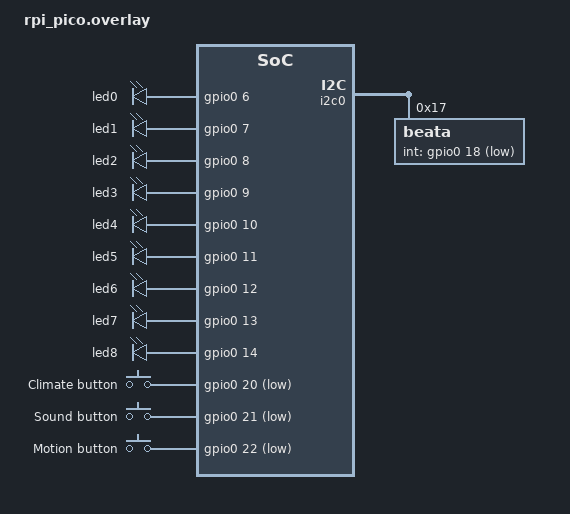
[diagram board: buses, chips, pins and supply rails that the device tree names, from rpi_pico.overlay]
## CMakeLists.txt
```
cmake_minimum_required(VERSION 3.20.0)

# Select our board
set(BOARD rpi_pico)
set(ZEPHYR_EXTRA_MODULES ${CMAKE_CURRENT_SOURCE_DIR}/../beata-driver)

# Find/Select cmake package 'Zephyr'
find_package(Zephyr)

# This is only used by IntelliSense inside VS Code
set(CMAKE_EXPORT_COMPILE_COMMANDS ON)

# For using west flash with picoprobe
set(OPENOCD "openocd")
set(DRPI_PICO_DEBUG_ADAPTER "picoprobe")
set(OPENOCD_DEFAULT_PATH "/usr/local/share/openocd/scripts")

# Define project name
project(beata)

# Add include directory
target_include_directories(app PRIVATE src/inc)

# Add source files
FILE(GLOB SRC_FILES "src/*.c")
target_sources(app PRIVATE ${SRC_FILES})
```

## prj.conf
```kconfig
CONFIG_GPIO=y
CONFIG_I2C=y

CONFIG_DEBUG=y
CONFIG_FPU=n
CONFIG_SENSOR=y
CONFIG_BEATA=n
CONFIG_BEATA_TRIGGER=y

CONFIG_NEWLIB_LIBC=y
CONFIG_NEWLIB_LIBC_FLOAT_PRINTF=y
```

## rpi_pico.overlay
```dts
/ {
    aliases {
        ledshow0 = &led0;
        ledshow1 = &led1;
        ledshow2 = &led2;
        ledshow3 = &led3;
        ledshow4 = &led4;
        ledselect0 = &led5;
        ledselect1 = &led6;
        ledselect2 = &led7;
        ledselect3 = &led8;
        sw0 = &button0;
        sw1 = &button1;
        sw2 = &button2;
    };

    leds {
        compatible = "gpio-leds";
        led0: led_0 {
            gpios = <&gpio0 6 GPIO_ACTIVE_HIGH>;
        };
        led1: led_1 {
            gpios = <&gpio0 7 GPIO_ACTIVE_HIGH>;
        };
        led2: led_2 {
            gpios = <&gpio0 8 GPIO_ACTIVE_HIGH>;
        };
        led3: led_3 {
            gpios = <&gpio0 9 GPIO_ACTIVE_HIGH>;
        };
        led4: led_4 {
            gpios = <&gpio0 10 GPIO_ACTIVE_HIGH>;
        };
        led5: led_5 {
            gpios = <&gpio0 11 GPIO_ACTIVE_HIGH>;
        };
        led6: led_6 {
            gpios = <&gpio0 12 GPIO_ACTIVE_HIGH>;
        };
        led7: led_7 {
            gpios = <&gpio0 13 GPIO_ACTIVE_HIGH>;
        };
        led8: led_8 {
            gpios = <&gpio0 14 GPIO_ACTIVE_HIGH>;
        };
    };

    buttons {
	    compatible = "gpio-keys";
	    button0: button_0 {
	        gpios = <&gpio0 20 (GPIO_PULL_UP | GPIO_ACTIVE_LOW)>;
	        label = "Climate button";
	    };
	    button1: button_1 {
	        gpios = <&gpio0 21 (GPIO_PULL_UP | GPIO_ACTIVE_LOW)>;
	        label = "Sound button";
	    };
	    button2: button_2 {
	        gpios = <&gpio0 22 (GPIO_PULL_UP | GPIO_ACTIVE_LOW)>;
	        label = "Motion button";
	    };
    };
};

&i2c0 {
    status = "okay";
    beata: beata@17 {
        status = "okay";
        compatible = "zephyr,beata";
        reg = <0x17>;
        int-gpios = <&gpio0 18 GPIO_ACTIVE_LOW>;
    };
};
```

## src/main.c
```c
#include <stdio.h>
#include <zephyr/device.h>
#include <zephyr/devicetree.h>
#include <zephyr/drivers/gpio.h>
#include <zephyr/drivers/sensor.h>
#include <zephyr/kernel.h>

#define STACK_SIZE 500
#define ERROR_MARGIN 200
#define BUTTON_DEBOUNCE_DELAY 50
#define BUTTON_HANDLE_DELAY 1
#define NUM_OF_SHOW_LEDS 5

#define SLEEP_TIME 50
#define DISABLE_CLIMATE (1 << 0)
#define DISABLE_SOUND   (1 << 1)
#define DISABLE_MOTION  (1 << 2)

/* Trigger on interupts */
#define UCEL_PER_CEL 1000000
#define UCEL_PER_MCEL 1000
#define TEMP_INITIAL_CEL 25
#define TEMP_WINDOW_HALF_UCEL 500000


/* Synchronization parameters */
K_MUTEX_DEFINE(config_lock);
K_SEM_DEFINE(mode_btn_sem, 0, 1);
K_SEM_DEFINE(select_btn_sem, 0, 1);
K_SEM_DEFINE(config_btn_sem, 0, 1);

// Global variables used
volatile uint8_t update_conf = 0;
static unsigned long button_time = 0;
static struct sensor_trigger temp_trig;
static struct sensor_trigger hum_trig;
static struct sensor_trigger press_trig;
static struct sensor_trigger sound_trig;
static struct sensor_trigger motion_trig;
static struct sensor_value config;
static struct sensor_value temperature, humidity, pressure, motion, sound;
static struct sensor_value sampling_frequency = {10};
static struct sensor_value threshold_temp_upper = {30};
static struct sensor_value threshold_temp_lower = {20};
static struct sensor_value threshold_hum_upper = {60};
static struct sensor_value threshold_hum_lower = {5};
static struct sensor_value threshold_press_upper = {130};
static struct sensor_value threshold_press_lower = {100};
static struct sensor_value threshold_sound_upper = {1000};
static struct sensor_value threshold_sound_lower = {0};

static struct gpio_dt_spec led_show0 = GPIO_DT_SPEC_GET(DT_ALIAS(ledshow0), gpios);
static struct gpio_dt_spec led_show1 = GPIO_DT_SPEC_GET(DT_ALIAS(ledshow1), gpios);
static struct gpio_dt_spec led_show2 = GPIO_DT_SPEC_GET(DT_ALIAS(ledshow2), gpios);
static struct gpio_dt_spec led_show3 = GPIO_DT_SPEC_GET(DT_ALIAS(ledshow3), gpios);
static struct gpio_dt_spec led_show4 = GPIO_DT_SPEC_GET(DT_ALIAS(ledshow4), gpios);
static struct gpio_dt_spec led_selected0 = GPIO_DT_SPEC_GET(DT_ALIAS(ledselect0), gpios);
static struct gpio_dt_spec led_selected1 = GPIO_DT_SPEC_GET(DT_ALIAS(ledselect1), gpios);
static struct gpio_dt_spec led_selected2 = GPIO_DT_SPEC_GET(DT_ALIAS(ledselect2), gpios);
static struct gpio_dt_spec led_selected_mode = GPIO_DT_SPEC_GET(DT_ALIAS(ledselect3), gpios);

static struct gpio_dt_spec mode_button = GPIO_DT_SPEC_GET(DT_ALIAS(sw0), gpios);
static struct gpio_dt_spec select_button = GPIO_DT_SPEC_GET(DT_ALIAS(sw1), gpios);
static struct gpio_dt_spec config_button = GPIO_DT_SPEC_GET(DT_ALIAS(sw2), gpios);

static struct gpio_callback mode_btn_cb_data, select_btn_cb_data, config_btn_cb_data;


/* Function pointer primitive */
typedef void (*state_func_t)(void);

typedef struct _state_t {
    uint8_t id;
    state_func_t Enter;
    state_func_t Do;
    state_func_t Exit;
    uint32_t delay_ms;
} state_t;

typedef enum _event_t {
    b1_evt = 0, // mode btn
    b2_evt = 1, // select btn
    b3_evt = 2, // config btn
    no_evt = 3
} event_t;

typedef enum _visual_select_t {
    motion_select,
    climate_temp_select,
    climate_hum_select,
    climate_press_select,
    sound_select,
    config_select
} visual_select_t;

typedef enum _toggle_config_select_t {
    toggle_motion_select,
    toggle_climate_select,
    toggle_sound_select,
} toggle_config_select_t;

typedef enum _base_station_mode_t {
    visual_mode,
    config_mode
} base_station_mode_t;

typedef enum _prev_config_state_t {
    motion_state,
    climate_state,
    sound_state,
    configure_state
} prev_config_state_t;

// No global variables
prev_config_state_t set_get_prev_config_state(prev_config_state_t prev_config_state_in) {
    static prev_config_state_t prev_config_state = motion_state;

    if (prev_config_state_in != configure_state) {
        prev_config_state = prev_config_state_in;
    }

    return prev_config_state;
}


/* The next three methods are for convenience, you might want to use them. */
event_t get_event(void) {
    if (k_sem_take(&mode_btn_sem, K_NO_WAIT) == 0) {
        printk("Get_event: mode_btn b1_evt\n");
        return b1_evt;
    } else if (k_sem_take(&select_btn_sem, K_NO_WAIT) == 0) {
        printk("Get_event: select_btn b2_evt\n");
        return b2_evt;
    } else if (k_sem_take(&config_btn_sem, K_NO_WAIT) == 0) {
        printk("Get_event: config_btn b3_evt\n");
        return b3_evt;
    } else {
        return no_evt;
    }
}

/****************************************************************************/
/* BEGIN: LEDs should only be modified within this section to prevent bugs */
/****************************************************************************/

/* Initialize all LEDs */
void leds_init() {
    gpio_pin_configure_dt(&led_show0, GPIO_OUTPUT_ACTIVE);
    gpio_pin_set_dt(&led_show0, 1);
    gpio_pin_configure_dt(&led_show1, GPIO_OUTPUT_ACTIVE);
    gpio_pin_set_dt(&led_show1, 1);
    gpio_pin_configure_dt(&led_show2, GPIO_OUTPUT_ACTIVE);
    gpio_pin_set_dt(&led_show2, 1);
    gpio_pin_configure_dt(&led_show3, GPIO_OUTPUT_ACTIVE);
    gpio_pin_set_dt(&led_show3, 1);
    gpio_pin_configure_dt(&led_show4, GPIO_OUTPUT_ACTIVE);
    gpio_pin_set_dt(&led_show4, 1);
    gpio_pin_configure_dt(&led_selected0, GPIO_OUTPUT_ACTIVE);
    gpio_pin_set_dt(&led_selected0, 1);
    gpio_pin_configure_dt(&led_selected1, GPIO_OUTPUT_ACTIVE);
    gpio_pin_set_dt(&led_selected1, 1);
    gpio_pin_configure_dt(&led_selected2, GPIO_OUTPUT_ACTIVE);
    gpio_pin_set_dt(&led_selected2, 1);
    gpio_pin_configure_dt(&led_selected_mode, GPIO_OUTPUT_ACTIVE);
    gpio_pin_set_dt(&led_selected_mode, 1);
}

/* Turn off all show LEDs */
void leds_show_off() {
    gpio_pin_set_dt(&led_show0, 0);
    gpio_pin_set_dt(&led_show1, 0);
    gpio_pin_set_dt(&led_show2, 0);
    gpio_pin_set_dt(&led_show3, 0);
    gpio_pin_set_dt(&led_show4, 0);
}

/*  Turn off all selected LEDs except mode.
    Does not shut down select_mode since this function is used to clear
    which visual or configuration has been selected, not mode.
*/
void leds_select_off() {
    gpio_pin_set_dt(&led_selected0, 0);
    gpio_pin_set_dt(&led_selected1, 0);
    gpio_pin_set_dt(&led_selected2, 0);
}

/* Turn off all LEDs.
   Call every time a state is entered, do, and exiting to prevent bugs.
*/
void leds_off() {
    leds_show_off();
    leds_select_off();
    gpio_pin_set_dt(&led_selected_mode, 0);
}

/* Turn on selected mode LED if visual_mode and off if config_mode
    Call every time you in the do function for all states.
*/
void led_selected_mode_on(base_station_mode_t mode) {
    if (mode == visual_mode) {
        gpio_pin_set_dt(&led_selected_mode, 0);
    } else if (mode == config_mode) {
        gpio_pin_set_dt(&led_selected_mode, 1);
    }
}

/* Turn on show LEDs (0, 1, 2) that correspond to each config option
    Turns off other show LEDs.
*/
void leds_show_config() {
    leds_show_off();

    if ((config.val1 & DISABLE_MOTION) == 0) {
        gpio_pin_set_dt(&led_show0, 1);
    }

    if ((config.val1 & DISABLE_CLIMATE) == 0) {
        gpio_pin_set_dt(&led_show1, 1);
    }

    if ((config.val1 & DISABLE_SOUND) == 0) {
        gpio_pin_set_dt(&led_show2, 1);
    }
}

/* Turn on show LEDs that correspond to each visual_select.
    Turns off all other show LEDs that is not used to display
    the visual_select.
*/
void leds_show_visual_select(visual_select_t visual_select) {
    leds_select_off();

    if (visual_select == motion_select) {
        gpio_pin_set_dt(&led_selected0, 1);
    } else if (visual_select == climate_temp_select) {
        gpio_pin_set_dt(&led_selected1, 1);
    } else if (visual_select == climate_hum_select) {
        gpio_pin_set_dt(&led_selected0, 1);
        gpio_pin_set_dt(&led_selected1, 1);
    } else if (visual_select == climate_press_select) {
        gpio_pin_set_dt(&led_selected1, 1);
        gpio_pin_set_dt(&led_selected2, 1);
    } else if (visual_select == sound_select) {
        gpio_pin_set_dt(&led_selected2, 1);
    }
}

/* Turn on show LEDs that correspond to each toggle_config_select.
    Turns off all other show LEDs that is not used to display
    the toggle_config_select.
*/
void leds_show_toggle_config_select(toggle_config_select_t toggle_config_select) {
    leds_select_off();

    if (toggle_config_select == toggle_motion_select) {
        gpio_pin_set_dt(&led_selected0, 1);
    } else if (toggle_config_select == toggle_climate_select) {
        gpio_pin_set_dt(&led_selected1, 1);
    } else if (toggle_config_select == toggle_sound_select) {
        gpio_pin_set_dt(&led_selected2, 1);
    }
}

void leds_show_level(uint16_t value, uint16_t min_level, uint16_t max_level) {
    leds_show_off();
    uint8_t num_of_led_to_turn_on = ((value - min_level) * NUM_OF_SHOW_LEDS) / (max_level - min_level);

    for (uint8_t i = 1; i <= num_of_led_to_turn_on; i++) {
        if (i == 1) {
            gpio_pin_set_dt(&led_show0, 1);
        } else if (i == 2) {
            gpio_pin_set_dt(&led_show1, 1);
        } else if (i == 3) {
            gpio_pin_set_dt(&led_show2, 1);
        } else if (i == 4) {
            gpio_pin_set_dt(&led_show3, 1);
        } else if (i == 5) {
            gpio_pin_set_dt(&led_show4, 1);
        }
    }
}

////////////////////////////////////////////////////////////////////////////
/* END: LEDs should only be modified within this section to proven't bugs */
////////////////////////////////////////////////////////////////////////////


/* Show motion */
void do_state_v0(void) {
    leds_off();
    led_selected_mode_on(visual_mode);
    leds_show_visual_select(motion_select);
    // TODO: have proper limits and values
    leds_show_level((uint16_t)motion.val1, 0, 100);
}

void enter_state_v0(void) {
    printk("Entering Show motion\n");
    leds_off();
}

void exit_state_v0(void) {
    printk("Exiting Show motion\n");
    leds_off();
}

const state_t state_v0 = {
    0,
    enter_state_v0,
    do_state_v0,
    exit_state_v0,
    300
};

/* Show climate temp */
void do_state_v1(void) {
    leds_off();
    led_selected_mode_on(visual_mode);
    leds_show_visual_select(climate_temp_select);
    // TODO: have proper limits and values
    leds_show_level((uint16_t)temperature.val1, 0, 100);
}

void enter_state_v1(void) {
    printk("Entering Show climate temp\n");
    leds_off();
}

void exit_state_v1(void) {
    printk("Exiting Show climate temp\n");
    leds_off();
}

const state_t state_v1 = {
    1,
    enter_state_v1,
    do_state_v1,
    exit_state_v1,
    300
};


/* Show climate humidity */
void do_state_v2(void) {
    leds_off();
    led_selected_mode_on(visual_mode);
    leds_show_visual_select(climate_hum_select);
    // TODO: have proper limits and values
    leds_show_level((uint16_t)humidity.val1, 0, 100);
}

void enter_state_v2(void) {
    printk("Entering Show climate humidity\n");
    leds_off();
}

void exit_state_v2(void) {
    printk("Exiting Show climate humidity\n");
    leds_off();
}

const state_t state_v2 = {
    2,
    enter_state_v2,
    do_state_v2,
    exit_state_v2,
    300
};


/* Show climate pressure */
void do_state_v3(void) {
    leds_off();
    led_selected_mode_on(visual_mode);
    leds_show_visual_select(climate_press_select);
    // TODO: have proper limits and values
    leds_show_level((uint16_t)pressure.val1, 0, 100);
}

void enter_state_v3(void) {
    printk("Entering Show climate pressure\n");
    leds_off();
}

void exit_state_v3(void) {
    printk("Exiting Show climate pressure\n");
    leds_off();
}

const state_t state_v3 = {
    3,
    enter_state_v3,
    do_state_v3,
    exit_state_v3,
    300
};


/* Show sound */
void do_state_v4(void) {
    leds_off();
    led_selected_mode_on(visual_mode);
    leds_show_visual_select(sound_select);
    // TODO: have proper limits and values
    leds_show_level((uint16_t)sound.val1, 50, 500);
}

void enter_state_v4(void) {
    printk("Entering Show sound\n");
    leds_off();
}
void exit_state_v4(void) {
    printk("Exiting Show sound\n");
    leds_off();
}

const state_t state_v4 = {
    4,
    enter_state_v4,
    do_state_v4,
    exit_state_v4,
    10
};


/* Show config */
void do_state_v5(void) {
    leds_off();
    led_selected_mode_on(visual_mode);
    leds_show_visual_select(config_select);
    leds_show_config();
}

void enter_state_v5(void) {
    printk("Entering Show config\n");
    leds_off();
}

void exit_state_v5(void) {
    printk("Exiting Show config\n");
    leds_off();
}

const state_t state_v5 = {
    5,
    enter_state_v5,
    do_state_v5,
    exit_state_v5,
    300
};


/* Toggle motion */
void do_state_c0(void) {
    leds_off();
    led_selected_mode_on(config_mode);
    leds_show_toggle_config_select(toggle_motion_select);
    leds_show_config();
}

void enter_state_c0(void) {
    printk("Entering Toggle motion\n");
    leds_off();
}

void exit_state_c0(void) {
    printk("Exiting Toggle motion\n");
    leds_off();
    set_get_prev_config_state(motion_state);
}

const state_t state_c0 = {
    6,
    enter_state_c0,
    do_state_c0,
    exit_state_c0,
    300
};


/* Toggle climate */
void do_state_c1(void) {
    leds_off();
    led_selected_mode_on(config_mode);
    leds_show_toggle_config_select(toggle_climate_select);
    leds_show_config();
}

void enter_state_c1(void) {
    printk("Entering Toggle climate\n");
    leds_off();
}

void exit_state_c1(void) {
    printk("Exiting Toggle climate\n");
    leds_off();
    set_get_prev_config_state(climate_state);
}

const state_t state_c1 = {
    7,
    enter_state_c1,
    do_state_c1,
    exit_state_c1,
    300
};


/* Toggle sound */
void do_state_c2(void) {
    leds_off();
    led_selected_mode_on(config_mode);
    leds_show_toggle_config_select(toggle_sound_select);
    leds_show_config();
}

void enter_state_c2(void) {
    printk("Entering Toggle sound\n");
    leds_off();
}

void exit_state_c2(void) {
    printk("Exiting Toggle sound\n");
    leds_off();
    set_get_prev_config_state(sound_state);
}


const state_t state_c2 = {
    8,
    enter_state_c2,
    do_state_c2,
    exit_state_c2,
    300
};

/* Change the value of the config */
void do_state_cc(void) {
    leds_off();
    led_selected_mode_on(config_mode);
    prev_config_state_t prev_config_state = set_get_prev_config_state(configure_state);

    if (prev_config_state == motion_state) {
        k_mutex_lock(&config_lock, K_FOREVER);
        config.val1 ^= DISABLE_MOTION;
        update_conf = 1;
        k_mutex_unlock(&config_lock);
        k_sem_give(&select_btn_sem);
    } else if (prev_config_state == climate_state) {
        k_mutex_lock(&config_lock, K_FOREVER);
        config.val1 ^= DISABLE_CLIMATE;
        update_conf = 1;
        k_mutex_unlock(&config_lock);
        k_sem_give(&select_btn_sem);
    } else if (prev_config_state == sound_state) {
        k_mutex_lock(&config_lock, K_FOREVER);
        config.val1 ^= DISABLE_SOUND;
        update_conf = 1;
        k_mutex_unlock(&config_lock);
        k_sem_give(&select_btn_sem);
    }

    leds_show_config();
}

void enter_state_cc(void) {
    printk("Entering change config\n");
    leds_off();
}

void exit_state_cc(void) {
    printk("Exiting change config\n");
    leds_off();
}

const state_t state_cc = {
    9,
    enter_state_cc,
    do_state_cc,
    exit_state_cc,
    300
};


const state_t state_table[10][4] = {
    /*  STATE  B1          B2          B3         NO-EVT */
    {/* S0 */  state_c0,   state_v1,   state_v0,  state_v0}, // show motion
    {/* S1 */  state_c0,   state_v2,   state_v1,  state_v1}, // show temp
    {/* S2 */  state_c0,   state_v3,   state_v2,  state_v2}, // show humidity
    {/* S3 */  state_c0,   state_v4,   state_v3,  state_v3}, // show pressure
    {/* S4 */  state_c0,   state_v5,   state_v4,  state_v4}, // show sound
    {/* S5 */  state_c0,   state_v0,   state_v5,  state_v5}, // show config
    {/* S6 */  state_v0,   state_c1,   state_cc,  state_c0}, // toggle motion
    {/* S7 */  state_v0,   state_c2,   state_cc,  state_c1}, // toggle climate
    {/* S8 */  state_v0,   state_c0,   state_cc,  state_c2}, // toggle sound
    {/* S9 */  state_v0,   state_c0,   state_cc,  state_cc}  // change config
};



/* Handle triggers */
static void temp_trigger_handler(const struct device *dev, const struct sensor_trigger *trig) {
    printk("TEMPERATURE THRESHOLD NOW BAMS\n");
}
static void hum_trigger_handler(const struct device *dev, const struct sensor_trigger *trig) {
    printk("HUMIDITY THRESHOLD NOW BAMS\n");
}

static void press_trigger_handler(const struct device *dev, const struct sensor_trigger *trig) {
    printk("PRESS THRESHOLD NOW BAMS\n");
}

static void motion_trigger_handler(const struct device *dev, const struct sensor_trigger *trig) {
    printk("MOTION NOW BAMS\n");
}

static void sound_trigger_handler(const struct device *dev, const struct sensor_trigger *trig) {
    printk("SOUND THRESHOLD NOW BAMS\n");
}

void button_isr(const struct device *dev, struct gpio_callback *cb, uint32_t pins) {
    if ((k_uptime_get_32() - button_time) > BUTTON_DEBOUNCE_DELAY) {
        button_time = k_uptime_get_32();

        if (pins & BIT(mode_button.pin)) {
            k_sem_give(&mode_btn_sem);
        } else if (pins & BIT(select_button.pin)) {
            k_sem_give(&select_btn_sem);
        } else if (pins & BIT(config_button.pin)) {
            k_sem_give(&config_btn_sem);
        }
    }
}

void interface_init() {
    /* Initialise buttons */
    gpio_pin_configure_dt(&mode_button, GPIO_INPUT);
    gpio_pin_interrupt_configure_dt(&mode_button, GPIO_INT_EDGE_TO_ACTIVE);
    gpio_init_callback(&mode_btn_cb_data, button_isr, BIT(mode_button.pin));
    gpio_add_callback(mode_button.port, &mode_btn_cb_data);
    gpio_pin_configure_dt(&select_button, GPIO_INPUT);
    gpio_pin_interrupt_configure_dt(&select_button, GPIO_INT_EDGE_TO_ACTIVE);
    gpio_init_callback(&select_btn_cb_data, button_isr, BIT(select_button.pin));
    gpio_add_callback(select_button.port, &select_btn_cb_data);
    gpio_pin_configure_dt(&config_button, GPIO_INPUT);
    gpio_pin_interrupt_configure_dt(&config_button, GPIO_INT_EDGE_TO_ACTIVE);
    gpio_init_callback(&config_btn_cb_data, button_isr, BIT(config_button.pin));
    gpio_add_callback(config_button.port, &config_btn_cb_data);
    /* Initialise led */
    leds_init();
}

void user_interface_task() {
    printk("Started User Interface task\n");
    interface_init();
    state_t current_state = state_v0;
    event_t evt = no_evt;

    for (;;) {
        printk("New iteration\n");
        current_state.Enter();
        evt = get_event();

        while (current_state.id == state_table[current_state.id][evt].id) {
            current_state.Do();
            k_msleep(current_state.delay_ms);
            evt = get_event();
        }

        current_state.Exit();
        current_state = state_table[current_state.id][evt];
    }
}

void main_task() {
    const struct device *dev = DEVICE_DT_GET_ANY(zephyr_beata);
    printk("*******************************************\n");

    while (!device_is_ready(dev)) {
        printk("Sensor: device not ready.\n");
        k_msleep(SLEEP_TIME);
    }

    printk("Starting base station...\n");
    printk("Configuring sensor node(s)...\n");
    printk("Setting sampling frequency...\n");
    sensor_attr_set(dev, SENSOR_CHAN_ALL, SENSOR_ATTR_SAMPLING_FREQUENCY, &sampling_frequency);
#ifdef CONFIG_BEATA_TRIGGER
    int ret;
    printk("Enabling trigger for temperature...\n");
    temp_trig.type = SENSOR_TRIG_THRESHOLD;
    temp_trig.chan = SENSOR_CHAN_AMBIENT_TEMP;
    ret = sensor_trigger_set(dev, &temp_trig, temp_trigger_handler);

    if (ret < 0) {
        printk("Temperature trigger set failed: %d\n", ret);
    }

    printk("Enabling trigger for humidity...\n");
    hum_trig.type = SENSOR_TRIG_THRESHOLD;
    hum_trig.chan = SENSOR_CHAN_HUMIDITY;
    ret = sensor_trigger_set(dev, &hum_trig, hum_trigger_handler);

    if (ret < 0) {
        printk("Humidity trigger set failed: %d\n", ret);
    }

    printk("Enabling trigger for pressure...\n");
    press_trig.type = SENSOR_TRIG_THRESHOLD;
    press_trig.chan = SENSOR_CHAN_PRESS;
    ret = sensor_trigger_set(dev, &press_trig, press_trigger_handler);

    if (ret < 0) {
        printk("Pressure trigger set failed: %d\n", ret);
    }

    printk("Enabling trigger for sound level...\n");
    sound_trig.type = SENSOR_TRIG_THRESHOLD;
    sound_trig.chan = SENSOR_CHAN_PROX;
    ret = sensor_trigger_set(dev, &sound_trig, sound_trigger_handler);

    if (ret < 0) {
        printk("Sound trigger set failed: %d\n", ret);
    }

    printk("Enabling trigger for motion...\n");
    motion_trig.type = SENSOR_TRIG_MOTION;
    motion_trig.chan = SENSOR_CHAN_IR;
    ret = sensor_trigger_set(dev, &motion_trig, motion_trigger_handler);

    if (ret < 0) {
        printk("Motion trigger set failed: %d\n", ret);
    }

    printk("Setting trigger thresholds...\n");
    sensor_attr_set(dev, SENSOR_CHAN_AMBIENT_TEMP, SENSOR_ATTR_UPPER_THRESH, &threshold_temp_upper);
    sensor_attr_set(dev, SENSOR_CHAN_AMBIENT_TEMP, SENSOR_ATTR_LOWER_THRESH, &threshold_temp_lower);
    sensor_attr_set(dev, SENSOR_CHAN_HUMIDITY, SENSOR_ATTR_UPPER_THRESH, &threshold_hum_upper);
    sensor_attr_set(dev, SENSOR_CHAN_HUMIDITY, SENSOR_ATTR_LOWER_THRESH, &threshold_hum_lower);
    sensor_attr_set(dev, SENSOR_CHAN_PRESS, SENSOR_ATTR_UPPER_THRESH, &threshold_press_upper);
    sensor_attr_set(dev, SENSOR_CHAN_PRESS, SENSOR_ATTR_LOWER_THRESH, &threshold_press_lower);
    sensor_attr_set(dev, SENSOR_CHAN_PROX, SENSOR_ATTR_UPPER_THRESH, &threshold_sound_upper);
    sensor_attr_set(dev, SENSOR_CHAN_PROX, SENSOR_ATTR_LOWER_THRESH, &threshold_sound_lower);
#endif
    printk("*******************************************\n\n");
    k_msleep(3000);
    static uint8_t iteration = 0;

    for (;;) {
        if (update_conf) {
            printk("Writing new configurations...\n");
            k_mutex_lock(&config_lock, K_FOREVER);
            sensor_attr_set(dev, SENSOR_CHAN_ALL, SENSOR_ATTR_FEATURE_MASK, &config);
            update_conf = 0;
            k_mutex_unlock(&config_lock);
        }

        if (sensor_sample_fetch(dev) < 0) {
            printk("ERROR: Could not fetch samples from sensor node.\n");
        }

        if (sensor_channel_get(dev, SENSOR_CHAN_AMBIENT_TEMP, &temperature) < 0) {
            printk("ERROR: Could not fetch 'TEMP' from sensor node.\n");
        }

        if (sensor_channel_get(dev, SENSOR_CHAN_HUMIDITY, &humidity) < 0) {
            printk("ERROR: Could not fetch 'HUMIDITY' from sensor node.\n");
        }

        if (sensor_channel_get(dev, SENSOR_CHAN_PRESS, &pressure) < 0) {
            printk("ERROR: Could not fetch 'PRESSURE' from sensor node.\n");
        }

        if (sensor_channel_get(dev, SENSOR_CHAN_PROX, &sound) < 0) {
            printk("ERROR: Could not fetch 'SOUND' from sensor node.\n");
        }

        if (sensor_channel_get(dev, SENSOR_CHAN_IR, &motion) < 0) {
            printk("ERROR: Could not fetch 'MOTION' from sensor node.\n");
        }

        if (iteration == 0) {
            printk("============ SENSOR READINGS ==============\n");
            printk("Humidity (%%): %d.%02d\n", humidity.val1, humidity.val2);
            printk("Pressure (hPa): %d.%02d\n", pressure.val1, pressure.val2);
            printk("Temperature (C): %d.%02d\n", temperature.val1, temperature.val2);
            printk("Has motion (bool): %d\n", motion.val1);
            printk("Sound level: %d\n", sound.val1);
            printk("===========================================\n\n");
        }

        iteration++;
        iteration %= 20;
        k_msleep(SLEEP_TIME);
    }
}

K_THREAD_DEFINE(button_thread, STACK_SIZE, user_interface_task, NULL, NULL, NULL, 1, 0, 0);
K_THREAD_DEFINE(main_thread, STACK_SIZE, main_task, NULL, NULL, NULL, 1, 0, 0);
```
